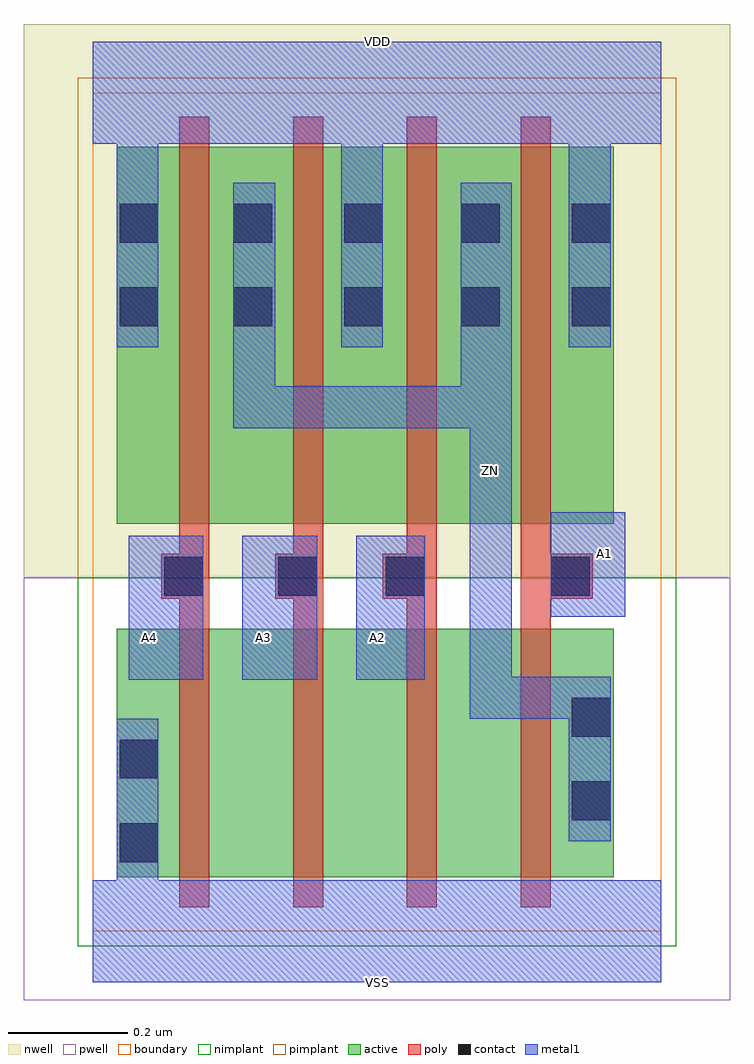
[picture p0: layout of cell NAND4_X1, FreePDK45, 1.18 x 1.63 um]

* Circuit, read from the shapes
.subckt NAND4_X1 A1 A2 A3 A4 VDD VSS ZN
M1 n1 A4 VSS VSUBS nfet w=0.415u l=0.05u
M2 n2 A3 n1 VSUBS nfet w=0.415u l=0.05u
M3 n3 A2 n2 VSUBS nfet w=0.415u l=0.05u
M4 ZN A1 n3 VSUBS nfet w=0.415u l=0.05u
M5 ZN A4 VDD n4 pfet w=0.63u l=0.05u
M6 VDD A3 ZN n4 pfet w=0.63u l=0.05u
M7 ZN A2 VDD n4 pfet w=0.63u l=0.05u
M8 VDD A1 ZN n4 pfet w=0.63u l=0.05u
.ends

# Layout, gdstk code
import gdstk
lib = gdstk.Library(unit=1e-6, precision=5e-10)
def R(c, l, rs):  # rectangles x0, y0, x1, y1
    for r in rs: c.add(gdstk.rectangle(r[:2], r[2:], *l))
def P(c, l, *ps):  # polygons
    for p in ps: c.add(gdstk.Polygon(p, *l))
active = (1, 0)
pwell = (2, 0)
nwell = (3, 0)
nimplant = (4, 0)
pimplant = (5, 0)
poly = (9, 0)
contact = (10, 0)
metal1 = (11, 0)
boundary = (235, 0)

nand4_x1 = lib.new_cell('NAND4_X1')
R(nand4_x1, active, [(0.04,0.09,0.87,0.505), (0.04,0.68,0.87,1.31)])
R(nand4_x1, pwell, [(-0.115,-0.115,1.065,0.59)])
R(nand4_x1, nwell, [(-0.115,0.59,1.065,1.515)])
R(nand4_x1, nimplant, [(-0.025,-0.025,0.975,0.59)])
R(nand4_x1, pimplant, [(-0.025,0.59,0.975,1.425)])
P(nand4_x1, poly, [(0.715,0.04),(0.765,0.04),(0.765,0.555),(0.835,0.555),(0.835,0.63),(0.765,0.63),(0.765,1.36),(0.715,1.36)],
  [(0.485,0.555),(0.525,0.555),(0.525,0.04),(0.575,0.04),(0.575,1.36),(0.525,1.36),(0.525,0.63),(0.485,0.63)],
  [(0.305,0.555),(0.335,0.555),(0.335,0.04),(0.385,0.04),(0.385,1.36),(0.335,1.36),(0.335,0.63),(0.305,0.63)],
  [(0.115,0.555),(0.145,0.555),(0.145,0.04),(0.195,0.04),(0.195,1.36),(0.145,1.36),(0.145,0.63),(0.115,0.63)])
R(nand4_x1, contact, [(0.045,0.115,0.11,0.18), (0.8,0.185,0.865,0.25), (0.045,0.255,0.11,0.32), (0.8,0.325,0.865,0.39), (0.12,0.56,0.185,0.625), (0.31,0.56,0.375,0.625), (0.49,0.56,0.555,0.625), (0.765,0.56,0.83,0.625), (0.045,1.01,0.11,1.075), (0.235,1.01,0.3,1.075), (0.42,1.01,0.485,1.075), (0.615,1.01,0.68,1.075), (0.8,1.01,0.865,1.075), (0.045,1.15,0.11,1.215), (0.235,1.15,0.3,1.215), (0.42,1.15,0.485,1.215), (0.615,1.15,0.68,1.215), (0.8,1.15,0.865,1.215)])
R(nand4_x1, metal1, [(0.06,0.42,0.185,0.66), (0.06,0.42,0.185,0.66), (0.25,0.42,0.375,0.66), (0.25,0.42,0.375,0.66), (0.44,0.42,0.555,0.66), (0.44,0.42,0.555,0.66), (0.765,0.525,0.89,0.7), (0.765,0.525,0.89,0.7)])
P(nand4_x1, metal1, [(0,-0.085),(0.95,-0.085),(0.95,0.085),(0.11,0.085),(0.11,0.355),(0.04,0.355),(0.04,0.085),(0,0.085)],
  [(0,1.315),(0.04,1.315),(0.04,0.975),(0.11,0.975),(0.11,1.315),(0.415,1.315),(0.415,0.975),(0.485,0.975),(0.485,1.315),(0.795,1.315),(0.795,0.975),(0.865,0.975),(0.865,1.315),(0.95,1.315),(0.95,1.485),(0,1.485)],
  [(0.235,0.84),(0.63,0.84),(0.63,0.355),(0.795,0.355),(0.795,0.15),(0.865,0.15),(0.865,0.425),(0.7,0.425),(0.7,1.25),(0.615,1.25),(0.615,0.91),(0.305,0.91),(0.305,1.25),(0.235,1.25)],
  [(0,1.315),(0.04,1.315),(0.04,0.975),(0.11,0.975),(0.11,1.315),(0.415,1.315),(0.415,0.975),(0.485,0.975),(0.485,1.315),(0.795,1.315),(0.795,0.975),(0.865,0.975),(0.865,1.315),(0.95,1.315),(0.95,1.485),(0,1.485)],
  [(0,-0.085),(0.95,-0.085),(0.95,0.085),(0.11,0.085),(0.11,0.355),(0.04,0.355),(0.04,0.085),(0,0.085)],
  [(0.235,0.84),(0.63,0.84),(0.63,0.355),(0.795,0.355),(0.795,0.15),(0.865,0.15),(0.865,0.425),(0.7,0.425),(0.7,1.25),(0.615,1.25),(0.615,0.91),(0.305,0.91),(0.305,1.25),(0.235,1.25)])
R(nand4_x1, boundary, [(0,0,0.95,1.4)])
nand4_x1.add(gdstk.Label('ZN', (0.665,0.77), layer=11, texttype=0))
nand4_x1.add(gdstk.Label('VSS', (0.475,-0.085), layer=11, texttype=0))
nand4_x1.add(gdstk.Label('VDD', (0.475,1.485), layer=11, texttype=0))
nand4_x1.add(gdstk.Label('A4', (0.095,0.49), layer=11, texttype=0))
nand4_x1.add(gdstk.Label('A3', (0.285,0.49), layer=11, texttype=0))
nand4_x1.add(gdstk.Label('A2', (0.475,0.49), layer=11, texttype=0))
nand4_x1.add(gdstk.Label('A1', (0.855,0.63), layer=11, texttype=0))

lib.write_gds('NAND4_X1.gds')
